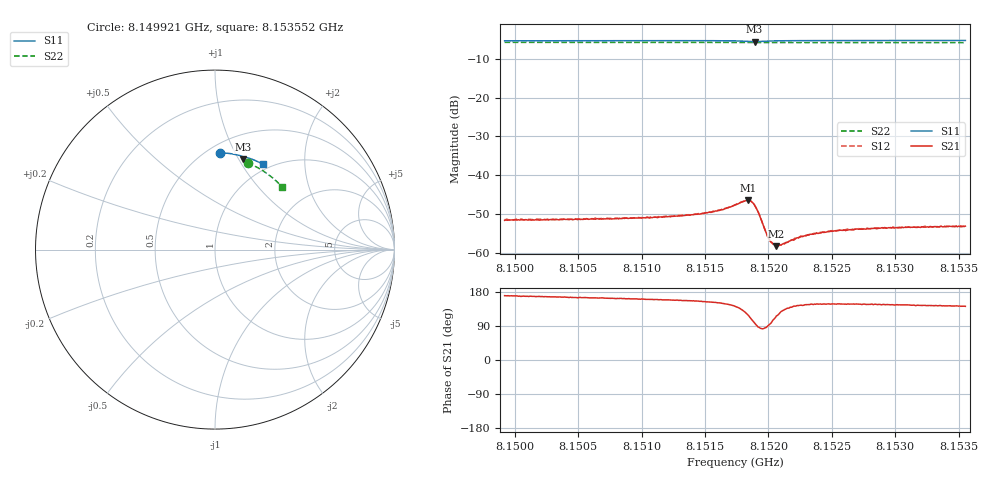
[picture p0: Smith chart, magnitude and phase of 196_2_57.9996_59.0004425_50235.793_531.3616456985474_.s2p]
#  HZ  S  RI  R  50.00
! Rohde & Schwarz Vector Network Analyzer
! Rohde-Schwarz,ZNB20-2Port,1311601062101988,3.16
! Created: UTC 3/21/2024, 12:59:03 AM
! freq[Hz]  re:S11  im:S11  re:S21  im:S21  re:S12  im:S12  re:S22  im:S22
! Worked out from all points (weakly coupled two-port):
!   401 points, 8.149921 GHz to 8.153552 GHz, reference 50 ohm
!   highest |S21| = -46.48 dB at 8.151836 GHz (marker M1); lowest = -58.3 dB at 8.152063 GHz (marker M2)
!   lowest |S11| = -5.6 dB at 8.151891 GHz (marker M3), VSWR 3.22, Z = 37.3 + j52 ohm
!   |S11| at or under -10 dB: nowhere
!   |S22| runs from -5.8 to -5.7 dB; largest |S21 - S12| = 0.00011
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8.1499207e9  0.0253 0.5395  -0.00258 0.000466  -0.00263 0.000564  0.1812 0.4828
8.150529e9  0.0679 0.5369  -0.00261 0.000726  -0.00262 0.000747  0.2172 0.467
8.1511373e9  0.1105 0.5306  -0.00269 0.00104  -0.00273 0.00109  0.2519 0.4484
8.1514914e9  0.1362 0.5246  -0.0029 0.0014  -0.00292 0.00142  0.2713 0.4364
8.1516276e9  0.1467 0.521  -0.00312 0.00178  -0.0031 0.00185  0.2786 0.4316
8.1517365e9  0.1555 0.5158  -0.00325 0.00258  -0.00321 0.00263  0.2844 0.4275
8.1518092e9  0.1595 0.509  -0.00285 0.00364  -0.00285 0.00367  0.2883 0.4245
8.1518364e9  0.1594 0.5058  -0.00235 0.00412  -0.00228 0.0042  0.2895 0.4236
8.1518637e9  0.1572 0.5035  -0.00146 0.00436  -0.00144 0.00441  0.2906 0.4224
8.1518909e9  0.1543 0.5033  -0.000538 0.00407  -0.000451 0.0041  0.2919 0.4215
8.1519181e9  0.1524 0.5055  0.000162 0.00339  0.000168 0.00339  0.2934 0.4207
8.1519817e9  0.155 0.5118  0.000136 0.00182  0.000163 0.00183  0.2965 0.4187
8.1520089e9  0.1577 0.5131  -0.000105 0.00146  -8.88e-05 0.00149  0.298 0.4177
8.1520362e9  0.1605 0.514  -0.000345 0.00127  -0.000346 0.00124  0.2995 0.4165
8.1520634e9  0.1631 0.5143  -0.000542 0.00109  -0.000523 0.00114  0.301 0.4155
8.1521088e9  0.1673 0.5143  -0.000824 0.000993  -0.000813 0.00102  0.3033 0.4137
8.1522359e9  0.1777 0.5126  -0.00125 0.000923  -0.00125 0.000948  0.3099 0.4089
8.1523449e9  0.1859 0.5104  -0.00146 0.000941  -0.00145 0.000973  0.3154 0.4045
8.152481e9  0.1956 0.5074  -0.0016 0.00101  -0.00159 0.00101  0.3221 0.3988
8.1526082e9  0.2043 0.5042  -0.00163 0.00104  -0.00166 0.00109  0.3283 0.3936
8.1529532e9  0.227 0.4951  -0.00174 0.00119  -0.00172 0.0012  0.3445 0.3787
8.1535524e9  0.2649 0.4771  -0.00173 0.00137  -0.00171 0.0014  0.3713 0.3515
